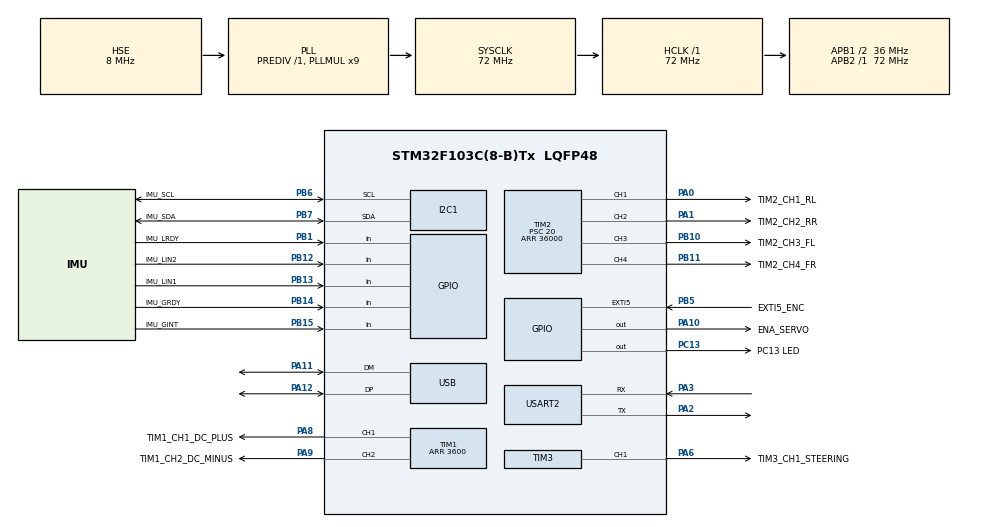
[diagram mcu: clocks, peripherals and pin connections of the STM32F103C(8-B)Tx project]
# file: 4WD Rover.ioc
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FREERTOS.HEAP_NUMBER=1
FREERTOS.Tasks01=defaultTask,-3,128,StartDefaultTask,Default,NULL,Dynamic,NULL,NULL;motorCtrlTask,0,128,StartMotorControlTask,Default,NULL,Dynamic,NULL,NULL;commTask,0,128,StartCommTask,Default,NULL,Dynamic,NULL,NULL;servoTask,0,128,StartServoTask,Default,NULL,Dynamic,NULL,NULL;sensorTask,0,128,StartSensorTask,Default,NULL,Dynamic,NULL,NULL
FREERTOS.configTOTAL_HEAP_SIZE=8192
Mcu.Family=STM32F1
Mcu.Name=STM32F103C(8-B)Tx
Mcu.Package=LQFP48
NVIC.EXTI9_5_IRQn=true\:5\:0\:false\:false\:true\:true\:true\:true
NVIC.I2C1_ER_IRQn=true\:5\:0\:false\:false\:true\:true\:true\:true
NVIC.I2C1_EV_IRQn=true\:5\:0\:false\:false\:true\:true\:true\:true
NVIC.PriorityGroup=NVIC_PRIORITYGROUP_4
NVIC.TIM4_IRQn=true\:0\:0\:false\:false\:true\:false\:false\:true
NVIC.TimeBase=TIM4_IRQn
NVIC.TimeBaseIP=TIM4
NVIC.USB_LP_CAN1_RX0_IRQn=true\:5\:0\:false\:false\:true\:true\:false\:true
PA0-WKUP.GPIO_Label=TIM2_CH1_RL
PA0-WKUP.Signal=S_TIM2_CH1_ETR
PA1.GPIO_Label=TIM2_CH2_RR
PA1.Signal=S_TIM2_CH2
PA10.GPIO_Label=ENA_SERVO
PA10.Signal=GPIO_Output
PA11.Mode=Device
PA11.Signal=USB_DM
PA12.Mode=Device
PA12.Signal=USB_DP
PA13.Mode=Serial_Wire
PA13.Signal=SYS_JTMS-SWDIO
PA14.Mode=Serial_Wire
PA14.Signal=SYS_JTCK-SWCLK
PA2.Mode=Asynchronous
PA2.Signal=USART2_TX
PA3.Mode=Asynchronous
PA3.Signal=USART2_RX
PA6.GPIO_Label=TIM3_CH1_STEERING
PA6.Signal=S_TIM3_CH1
PA8.GPIO_Label=TIM1_CH1_DC_PLUS
PA8.Signal=S_TIM1_CH1
PA9.GPIO_Label=TIM1_CH2_DC_MINUS
PA9.Signal=S_TIM1_CH2
PB1.GPIO_Label=IMU_LRDY
PB1.Signal=GPIO_Input
PB10.GPIO_Label=TIM2_CH3_FL
PB10.Signal=S_TIM2_CH3
PB11.GPIO_Label=TIM2_CH4_FR
PB11.Signal=S_TIM2_CH4
PB12.GPIO_Label=IMU_LIN2
PB12.Signal=GPIO_Input
PB13.GPIO_Label=IMU_LIN1
PB13.Signal=GPIO_Input
PB14.GPIO_Label=IMU_GRDY
PB14.Signal=GPIO_Input
PB15.GPIO_Label=IMU_GINT
PB15.Signal=GPIO_Input
PB5.GPIO_Label=EXTI5_ENC
PB5.Signal=GPXTI5
PB6.GPIO_Label=IMU_SCL
PB6.Mode=I2C
PB6.Signal=I2C1_SCL
PB7.GPIO_Label=IMU_SDA
PB7.Mode=I2C
PB7.Signal=I2C1_SDA
PC13-TAMPER-RTC.GPIO_Label=PC13 LED
PC13-TAMPER-RTC.Signal=GPIO_Output
PD0-OSC_IN.Mode=HSE-External-Oscillator
PD0-OSC_IN.Signal=RCC_OSC_IN
PD1-OSC_OUT.Mode=HSE-External-Oscillator
PD1-OSC_OUT.Signal=RCC_OSC_OUT
ProjectManager.HeapSize=0x1000
ProjectManager.StackSize=0x600
ProjectManager.TargetToolchain=EWARM V8.32
RCC.AHBFreq_Value=72000000
RCC.APB1CLKDivider=RCC_HCLK_DIV2
RCC.APB1Freq_Value=36000000
RCC.APB1TimFreq_Value=72000000
RCC.APB2Freq_Value=72000000
RCC.APB2TimFreq_Value=72000000
RCC.HCLKFreq_Value=72000000
RCC.PLLMUL=RCC_PLL_MUL9
RCC.SYSCLKFreq_VALUE=72000000
RCC.SYSCLKSource=RCC_SYSCLKSOURCE_PLLCLK
RCC.USBFreq_Value=48000000
RCC.USBPrescaler=RCC_USBCLKSOURCE_PLL_DIV1_5
SH.S_TIM1_CH1.0=TIM1_CH1,PWM Generation1 CH1
SH.S_TIM1_CH2.0=TIM1_CH2,PWM Generation2 CH2
SH.S_TIM2_CH1_ETR.0=TIM2_CH1,PWM Generation1 CH1
SH.S_TIM2_CH2.0=TIM2_CH2,PWM Generation2 CH2
SH.S_TIM2_CH3.0=TIM2_CH3,PWM Generation3 CH3
SH.S_TIM2_CH4.0=TIM2_CH4,PWM Generation4 CH4
SH.S_TIM3_CH1.0=TIM3_CH1,PWM Generation1 CH1
TIM1.Channel-PWM\ Generation1\ CH1=TIM_CHANNEL_1
TIM1.Channel-PWM\ Generation2\ CH2=TIM_CHANNEL_2
TIM1.Period=3600
TIM2.Channel-PWM\ Generation1\ CH1=TIM_CHANNEL_1
TIM2.Channel-PWM\ Generation2\ CH2=TIM_CHANNEL_2
TIM2.Channel-PWM\ Generation3\ CH3=TIM_CHANNEL_3
TIM2.Channel-PWM\ Generation4\ CH4=TIM_CHANNEL_4
TIM2.Period=36000
TIM2.Prescaler=20
TIM3.Channel-PWM\ Generation1\ CH1=TIM_CHANNEL_1
TIM3.Period=36000
TIM3.Prescaler=40
USART2.VirtualMode=VM_ASYNC
USB_DEVICE.APP_RX_DATA_SIZE=64
USB_DEVICE.APP_TX_DATA_SIZE=64
USB_DEVICE.CLASS_NAME_FS=CDC
USB_DEVICE.VirtualMode=Cdc
USB_DEVICE.VirtualModeFS=Cdc_FS
VP_FREERTOS_VS_CMSIS_V1.Mode=CMSIS_V1
VP_SYS_VS_tim4.Mode=TIM4
VP_USB_DEVICE_VS_USB_DEVICE_CDC_FS.Mode=CDC_FS
board=custom

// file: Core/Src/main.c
/* USER CODE BEGIN Header */
/**
  ******************************************************************************
  * @file           : main.c
  * @brief          : Main program body
  ******************************************************************************
  * @attention
  *
  * <h2><center>&copy; Copyright (c) 2020 STMicroelectronics.
  * All rights reserved.</center></h2>
  *
  * This software component is licensed by ST under Ultimate Liberty license
  * SLA0044, the "License"; You may not use this file except in compliance with
  * the License. You may obtain a copy of the License at:
  *                             www.st.com/SLA0044
  *
  ******************************************************************************
  */
/* USER CODE END Header */

#include "main.h"
#include "cmsis_os.h"
#include "usb_device.h"

/* USER CODE BEGIN Includes */
#include <math.h>
#include <stdbool.h>
#include <inttypes.h>
#include "pid.h"
#include "i2c_handler.h"
#include "lsm303dlhc.h"
#include "l3gd20.h"
#include "IMUOrientationEstimator.h"
/* USER CODE END Includes */

/* USER CODE BEGIN PD */
#define ABS(x)         (x < 0) ? (-x) : x
#define IDLE_NUM_SAMPLES        ((uint32_t) 200u)
#define AVERAGE_NUM_SAMPLES     ((uint32_t) 50u)
/* USER CODE END PD */

I2C_HandleTypeDef hi2c1;

TIM_HandleTypeDef htim1;
TIM_HandleTypeDef htim2;
TIM_HandleTypeDef htim3;

UART_HandleTypeDef huart2;

osThreadId defaultTaskHandle;
osThreadId motorCtrlTaskHandle;
osThreadId commTaskHandle;
osThreadId servoTaskHandle;
osThreadId sensorTaskHandle;
/* USER CODE BEGIN PV */
static volatile uint32_t timeStamp =0;
static volatile uint32_t timeOutGuard =0;
static volatile uint32_t timeOutGuardMax = 0;
static volatile uint8_t timeOutGuardEna = 1;
static volatile float referenceSpeed = 0;
static float referenceSpeedRaw = 50;
static float referenceAngle = 50;
static float referenceDistance = 50;
volatile uint8_t servoEna = 1;
char txBuf[64];
char rxBuf[64];
uint8_t receiveState = 0;

static volatile float FL_min = 12.5;
static volatile float FR_min = 11;
static volatile float RL_min = 11.5;
static volatile float RR_min = 11.5;
static volatile float ST_min = 7;

static volatile float FL_max = 16.5;
static volatile float FR_max = 15;
static volatile float RL_max = 15.5;
static volatile float RR_max = 15.5;
static volatile float ST_max = 9.4;

static float FL_val = 50;
static float FR_val = 50;
static float RL_val = 50;
static float RR_val = 50;
static float ST_val = 50;

static float FL_valPrev = 50;
static float FR_valPrev = 50;
static float RL_valPrev = 50;
static float RR_valPrev = 50;
static float ST_valPrev = 50;
//static float suspensionThreshold = 2;
//static float rollGain = 6.f;
//static float pitchGain = 6.f;
static float filteredPitch;
static float filteredRoll;
static float rollReference = 0;
static float pitchReference = 0;
static uint8_t servoDebounce = 0;

static PID_t pitchController;
static PID_t rollController;

static float rollOffset;
static float pitchOffset;

static volatile float ctrlPSusp = 2.5;
static volatile float ctrlISusp = 0.2;
static volatile float ctrlDSusp = 0;

static uint32_t motCntr = 0; //Motor encoder
static uint32_t motCntrPrev = 0;
static uint32_t motSpeedRaw = 0;
static volatile float motSpeed = 0;
static float raw2mps = 2000.f;
static volatile int16_t controlTaskCycle_ms = 20;

static volatile int16_t pwm1 = 0;
static volatile int16_t pwm2 = 0;

static volatile float motSpeedFiltered = 0;
static volatile float speedError = 0;
static volatile float speedErrorPrev = 0;
static volatile float speedIntError = 0;
static volatile float speedDerivatedError = 0;
//static int16_t forceMotor = 0;
static volatile int16_t forceMotorBeforeSaturation = 0;
static volatile uint16_t absForceMotor = 0;

static volatile float antiWindup = 0;
static volatile float ctrlP = 300;
static volatile float ctrlI = 0.2;
static volatile float ctrlD = 0;
static volatile float feedForward = 15;
static int16_t forceSaturation = 90;

static float automaticSuspension = 1;
static float fixedDistance = 0;
static float referenceFL = 50;
static float referenceFR = 50;
static float referenceRL = 50;
static float referenceRR = 50;

static PID_t controller;

static float accelerometerBuffer[3];
static float compassBuffer[3];
static float gyroBuffer[3];
static float gyroTemp[1];

static Vector3D_t accelerometer;
static Vector3D_t angularSpeed;
static Vector3D_t angularSpeedCompensated;
static Vector3D_t magnetometer;

static Orientation3D_t IMUorientation;
static Orientation3D_t IMUorientationDeg;
static Quaternion_t quaternion;
static uint8_t isMoving = 1;
static uint8_t offset_calibrated;
static Vector3D_t averageAngularSpeed;
static Vector3D_t sumAngularSpeed;
static uint32_t averageAngularSpeedSamples;
static Vector3D_t currentMidValue;
static uint32_t samplesInCurrentBand;

static float sensitivityMoving2Still = 35.f;
static float sensitivityStill2Moving = 7.f;
static float IDLE_SENSITIVITY = 35.f;

/* USER CODE END PV */

void SystemClock_Config(void);
static void MX_GPIO_Init(void);
static void MX_I2C1_Init(void);
static void MX_TIM1_Init(void);
static void MX_TIM2_Init(void);
static void MX_TIM3_Init(void);
static void MX_USART2_UART_Init(void);
void StartDefaultTask(void const * argument);
void StartMotorControlTask(void const * argument);
void StartCommTask(void const * argument);
void StartServoTask(void const * argument);
void StartSensorTask(void const * argument);

/* USER CODE BEGIN PFP */
extern uint8_t CDC_Transmit_FS(uint8_t* Buf, uint16_t Len);
static void I2C_ClearBusyFlagErratum(I2C_HandleTypeDef* handle, uint32_t timeout);
/* USER CODE END PFP */

int main(void)
{

  /* MCU Configuration--------------------------------------------------------*/

  /* Reset of all peripherals, Initializes the Flash interface and the Systick. */
  HAL_Init();

  /* Configure the system clock */
  SystemClock_Config();

  /* Initialize all configured peripherals */
  MX_GPIO_Init();
  MX_I2C1_Init();
  MX_TIM1_Init();
  MX_TIM2_Init();
  MX_TIM3_Init();
  MX_USART2_UART_Init();
  /* USER CODE BEGIN 2 */
  HAL_TIM_PWM_Start(&htim1, TIM_CHANNEL_1);
  HAL_TIM_PWM_Start(&htim1, TIM_CHANNEL_2);

  HAL_TIM_PWM_Start(&htim2, TIM_CHANNEL_1);
  HAL_TIM_PWM_Start(&htim2, TIM_CHANNEL_2);
  HAL_TIM_PWM_Start(&htim2, TIM_CHANNEL_3);
  HAL_TIM_PWM_Start(&htim2, TIM_CHANNEL_4);

  HAL_TIM_PWM_Start(&htim3, TIM_CHANNEL_1);

  TIM1->CCR1 = 0*3600/100; //DC motor +
  TIM1->CCR2 = 0*3600/100; //DC motor -

  //I2C_ClearBusyFlagErratum(&hi2c1, HAL_MAX_DELAY);

  //__HAL_RCC_I2C1_FORCE_RESET();
  //HAL_Delay(2);
  //__HAL_RCC_I2C1_RELEASE_RESET();

  /* USER CODE END 2 */

  /* Create the thread(s) */
  /* definition and creation of defaultTask */
  osThreadDef(defaultTask, StartDefaultTask, osPriorityIdle, 0, 128);
  defaultTaskHandle = osThreadCreate(osThread(defaultTask), NULL);

  /* definition and creation of motorCtrlTask */
  osThreadDef(motorCtrlTask, StartMotorControlTask, osPriorityNormal, 0, 128);
  motorCtrlTaskHandle = osThreadCreate(osThread(motorCtrlTask), NULL);

  /* definition and creation of commTask */
  osThreadDef(commTask, StartCommTask, osPriorityNormal, 0, 128);
  commTaskHandle = osThreadCreate(osThread(commTask), NULL);

  /* definition and creation of servoTask */
  osThreadDef(servoTask, StartServoTask, osPriorityNormal, 0, 128);
  servoTaskHandle = osThreadCreate(osThread(servoTask), NULL);

  /* definition and creation of sensorTask */
  osThreadDef(sensorTask, StartSensorTask, osPriorityNormal, 0, 128);
  sensorTaskHandle = osThreadCreate(osThread(sensorTask), NULL);

  /* Start scheduler */
  osKernelStart();

  /* We should never get here as control is now taken by the scheduler */
  /* Infinite loop */
  while (1)
  {

  }
}

void SystemClock_Config(void)
{
  RCC_OscInitTypeDef RCC_OscInitStruct = {0};
  RCC_ClkInitTypeDef RCC_ClkInitStruct = {0};
  RCC_PeriphCLKInitTypeDef PeriphClkInit = {0};

  /** Initializes the CPU, AHB and APB busses clocks
  */
  RCC_OscInitStruct.OscillatorType = RCC_OSCILLATORTYPE_HSE;
  RCC_OscInitStruct.HSEState = RCC_HSE_ON;
  RCC_OscInitStruct.HSEPredivValue = RCC_HSE_PREDIV_DIV1;
  RCC_OscInitStruct.HSIState = RCC_HSI_ON;
  RCC_OscInitStruct.PLL.PLLState = RCC_PLL_ON;
  RCC_OscInitStruct.PLL.PLLSource = RCC_PLLSOURCE_HSE;
  RCC_OscInitStruct.PLL.PLLMUL = RCC_PLL_MUL9;
  if (HAL_RCC_OscConfig(&RCC_OscInitStruct) != HAL_OK)
  {
    Error_Handler();
  }
  /** Initializes the CPU, AHB and APB busses clocks
  */
  RCC_ClkInitStruct.ClockType = RCC_CLOCKTYPE_HCLK|RCC_CLOCKTYPE_SYSCLK
                              |RCC_CLOCKTYPE_PCLK1|RCC_CLOCKTYPE_PCLK2;
  RCC_ClkInitStruct.SYSCLKSource = RCC_SYSCLKSOURCE_PLLCLK;
  RCC_ClkInitStruct.AHBCLKDivider = RCC_SYSCLK_DIV1;
  RCC_ClkInitStruct.APB1CLKDivider = RCC_HCLK_DIV2;
  RCC_ClkInitStruct.APB2CLKDivider = RCC_HCLK_DIV1;

  if (HAL_RCC_ClockConfig(&RCC_ClkInitStruct, FLASH_LATENCY_2) != HAL_OK)
  {
    Error_Handler();
  }
  PeriphClkInit.PeriphClockSelection = RCC_PERIPHCLK_USB;
  PeriphClkInit.UsbClockSelection = RCC_USBCLKSOURCE_PLL_DIV1_5;
  if (HAL_RCCEx_PeriphCLKConfig(&PeriphClkInit) != HAL_OK)
  {
    Error_Handler();
  }
}

static void MX_I2C1_Init(void)
{

  hi2c1.Instance = I2C1;
  hi2c1.Init.ClockSpeed = 100000;
  hi2c1.Init.DutyCycle = I2C_DUTYCYCLE_2;
  hi2c1.Init.OwnAddress1 = 0;
  hi2c1.Init.AddressingMode = I2C_ADDRESSINGMODE_7BIT;
  hi2c1.Init.DualAddressMode = I2C_DUALADDRESS_DISABLE;
  hi2c1.Init.OwnAddress2 = 0;
  hi2c1.Init.GeneralCallMode = I2C_GENERALCALL_DISABLE;
  hi2c1.Init.NoStretchMode = I2C_NOSTRETCH_DISABLE;
  if (HAL_I2C_Init(&hi2c1) != HAL_OK)
  {
    Error_Handler();
  }

}

static void MX_TIM1_Init(void)
{

  TIM_MasterConfigTypeDef sMasterConfig = {0};
  TIM_OC_InitTypeDef sConfigOC = {0};
  TIM_BreakDeadTimeConfigTypeDef sBreakDeadTimeConfig = {0};

  htim1.Instance = TIM1;
  htim1.Init.Prescaler = 0;
  htim1.Init.CounterMode = TIM_COUNTERMODE_UP;
  htim1.Init.Period = 3600;
  htim1.Init.ClockDivision = TIM_CLOCKDIVISION_DIV1;
  htim1.Init.RepetitionCounter = 0;
  htim1.Init.AutoReloadPreload = TIM_AUTORELOAD_PRELOAD_DISABLE;
  if (HAL_TIM_PWM_Init(&htim1) != HAL_OK)
  {
    Error_Handler();
  }
  sMasterConfig.MasterOutputTrigger = TIM_TRGO_RESET;
  sMasterConfig.MasterSlaveMode = TIM_MASTERSLAVEMODE_DISABLE;
  if (HAL_TIMEx_MasterConfigSynchronization(&htim1, &sMasterConfig) != HAL_OK)
  {
    Error_Handler();
  }
  sConfigOC.OCMode = TIM_OCMODE_PWM1;
  sConfigOC.Pulse = 0;
  sConfigOC.OCPolarity = TIM_OCPOLARITY_HIGH;
  sConfigOC.OCNPolarity = TIM_OCNPOLARITY_HIGH;
  sConfigOC.OCFastMode = TIM_OCFAST_DISABLE;
  sConfigOC.OCIdleState = TIM_OCIDLESTATE_RESET;
  sConfigOC.OCNIdleState = TIM_OCNIDLESTATE_RESET;
  if (HAL_TIM_PWM_ConfigChannel(&htim1, &sConfigOC, TIM_CHANNEL_1) != HAL_OK)
  {
    Error_Handler();
  }
  if (HAL_TIM_PWM_ConfigChannel(&htim1, &sConfigOC, TIM_CHANNEL_2) != HAL_OK)
  {
    Error_Handler();
  }
  sBreakDeadTimeConfig.OffStateRunMode = TIM_OSSR_DISABLE;
  sBreakDeadTimeConfig.OffStateIDLEMode = TIM_OSSI_DISABLE;
  sBreakDeadTimeConfig.LockLevel = TIM_LOCKLEVEL_OFF;
  sBreakDeadTimeConfig.DeadTime = 0;
  sBreakDeadTimeConfig.BreakState = TIM_BREAK_DISABLE;
  sBreakDeadTimeConfig.BreakPolarity = TIM_BREAKPOLARITY_HIGH;
  sBreakDeadTimeConfig.AutomaticOutput = TIM_AUTOMATICOUTPUT_DISABLE;
  if (HAL_TIMEx_ConfigBreakDeadTime(&htim1, &sBreakDeadTimeConfig) != HAL_OK)
  {
    Error_Handler();
  }
  HAL_TIM_MspPostInit(&htim1);

}

static void MX_TIM2_Init(void)
{

  TIM_MasterConfigTypeDef sMasterConfig = {0};
  TIM_OC_InitTypeDef sConfigOC = {0};

  htim2.Instance = TIM2;
  htim2.Init.Prescaler = 20;
  htim2.Init.CounterMode = TIM_COUNTERMODE_UP;
  htim2.Init.Period = 36000;
  htim2.Init.ClockDivision = TIM_CLOCKDIVISION_DIV1;
  htim2.Init.AutoReloadPreload = TIM_AUTORELOAD_PRELOAD_DISABLE;
  if (HAL_TIM_PWM_Init(&htim2) != HAL_OK)
  {
    Error_Handler();
  }
  sMasterConfig.MasterOutputTrigger = TIM_TRGO_RESET;
  sMasterConfig.MasterSlaveMode = TIM_MASTERSLAVEMODE_DISABLE;
  if (HAL_TIMEx_MasterConfigSynchronization(&htim2, &sMasterConfig) != HAL_OK)
  {
    Error_Handler();
  }
  sConfigOC.OCMode = TIM_OCMODE_PWM1;
  sConfigOC.Pulse = 0;
  sConfigOC.OCPolarity = TIM_OCPOLARITY_HIGH;
  sConfigOC.OCFastMode = TIM_OCFAST_DISABLE;
  if (HAL_TIM_PWM_ConfigChannel(&htim2, &sConfigOC, TIM_CHANNEL_1) != HAL_OK)
  {
    Error_Handler();
  }
  if (HAL_TIM_PWM_ConfigChannel(&htim2, &sConfigOC, TIM_CHANNEL_2) != HAL_OK)
  {
    Error_Handler();
  }
  if (HAL_TIM_PWM_ConfigChannel(&htim2, &sConfigOC, TIM_CHANNEL_3) != HAL_OK)
  {
    Error_Handler();
  }
  if (HAL_TIM_PWM_ConfigChannel(&htim2, &sConfigOC, TIM_CHANNEL_4) != HAL_OK)
  {
    Error_Handler();
  }
  HAL_TIM_MspPostInit(&htim2);

}

static void MX_TIM3_Init(void)
{

  TIM_MasterConfigTypeDef sMasterConfig = {0};
  TIM_OC_InitTypeDef sConfigOC = {0};

  htim3.Instance = TIM3;
  htim3.Init.Prescaler = 40;
  htim3.Init.CounterMode = TIM_COUNTERMODE_UP;
  htim3.Init.Period = 36000;
  htim3.Init.ClockDivision = TIM_CLOCKDIVISION_DIV1;
  htim3.Init.AutoReloadPreload = TIM_AUTORELOAD_PRELOAD_DISABLE;
  if (HAL_TIM_PWM_Init(&htim3) != HAL_OK)
  {
    Error_Handler();
  }
  sMasterConfig.MasterOutputTrigger = TIM_TRGO_RESET;
  sMasterConfig.MasterSlaveMode = TIM_MASTERSLAVEMODE_DISABLE;
  if (HAL_TIMEx_MasterConfigSynchronization(&htim3, &sMasterConfig) != HAL_OK)
  {
    Error_Handler();
  }
  sConfigOC.OCMode = TIM_OCMODE_PWM1;
  sConfigOC.Pulse = 0;
  sConfigOC.OCPolarity = TIM_OCPOLARITY_HIGH;
  sConfigOC.OCFastMode = TIM_OCFAST_DISABLE;
  if (HAL_TIM_PWM_ConfigChannel(&htim3, &sConfigOC, TIM_CHANNEL_1) != HAL_OK)
  {
    Error_Handler();
  }
  HAL_TIM_MspPostInit(&htim3);

}

static void MX_USART2_UART_Init(void)
{

  huart2.Instance = USART2;
  huart2.Init.BaudRate = 115200;
  huart2.Init.WordLength = UART_WORDLENGTH_8B;
  huart2.Init.StopBits = UART_STOPBITS_1;
  huart2.Init.Parity = UART_PARITY_NONE;
  huart2.Init.Mode = UART_MODE_TX_RX;
  huart2.Init.HwFlowCtl = UART_HWCONTROL_NONE;
  huart2.Init.OverSampling = UART_OVERSAMPLING_16;
  if (HAL_UART_Init(&huart2) != HAL_OK)
  {
    Error_Handler();
  }

}

static void MX_GPIO_Init(void)
{
  GPIO_InitTypeDef GPIO_InitStruct = {0};

  /* GPIO Ports Clock Enable */
  __HAL_RCC_GPIOC_CLK_ENABLE();
  __HAL_RCC_GPIOD_CLK_ENABLE();
  __HAL_RCC_GPIOA_CLK_ENABLE();
  __HAL_RCC_GPIOB_CLK_ENABLE();

  /*Configure GPIO pin Output Level */
  HAL_GPIO_WritePin(PC13_LED_GPIO_Port, PC13_LED_Pin, GPIO_PIN_RESET);

  /*Configure GPIO pin Output Level */
  HAL_GPIO_WritePin(ENA_SERVO_GPIO_Port, ENA_SERVO_Pin, GPIO_PIN_RESET);

  /*Configure GPIO pin : PC13_LED_Pin */
  GPIO_InitStruct.Pin = PC13_LED_Pin;
  GPIO_InitStruct.Mode = GPIO_MODE_OUTPUT_PP;
  GPIO_InitStruct.Pull = GPIO_NOPULL;
  GPIO_InitStruct.Speed = GPIO_SPEED_FREQ_LOW;
  HAL_GPIO_Init(PC13_LED_GPIO_Port, &GPIO_InitStruct);

  /*Configure GPIO pins : IMU_LRDY_Pin IMU_LIN2_Pin IMU_LIN1_Pin IMU_GRDY_Pin
                           IMU_GINT_Pin */
  GPIO_InitStruct.Pin = IMU_LRDY_Pin|IMU_LIN2_Pin|IMU_LIN1_Pin|IMU_GRDY_Pin
                          |IMU_GINT_Pin;
  GPIO_InitStruct.Mode = GPIO_MODE_INPUT;
  GPIO_InitStruct.Pull = GPIO_NOPULL;
  HAL_GPIO_Init(GPIOB, &GPIO_InitStruct);

  /*Configure GPIO pin : ENA_SERVO_Pin */
  GPIO_InitStruct.Pin = ENA_SERVO_Pin;
  GPIO_InitStruct.Mode = GPIO_MODE_OUTPUT_PP;
  GPIO_InitStruct.Pull = GPIO_NOPULL;
  GPIO_InitStruct.Speed = GPIO_SPEED_FREQ_LOW;
  HAL_GPIO_Init(ENA_SERVO_GPIO_Port, &GPIO_InitStruct);

  /*Configure GPIO pin : EXTI5_ENC_Pin */
  GPIO_InitStruct.Pin = EXTI5_ENC_Pin;
  GPIO_InitStruct.Mode = GPIO_MODE_IT_RISING;
  GPIO_InitStruct.Pull = GPIO_NOPULL;
  HAL_GPIO_Init(EXTI5_ENC_GPIO_Port, &GPIO_InitStruct);

  /* EXTI interrupt init*/
  HAL_NVIC_SetPriority(EXTI9_5_IRQn, 5, 0);
  HAL_NVIC_EnableIRQ(EXTI9_5_IRQn);

}

/* USER CODE BEGIN 4 */

void HAL_GPIO_EXTI_Callback(uint16_t GPIO_Pin){
  switch ( GPIO_Pin ) {
  case GPIO_PIN_5:
    motCntr++;
    break;
  default:
    break;
  }
}

/**
  * @brief Count characters in char array
  * @param ptr: pointer to char array
  * @retval Number of characters in array
  */
uint16_t SizeofCharArray(char *ptr)
{
  /* Local variables */
  uint16_t len = 0;

  /* Search until end char */
  while (ptr[len] != '\0') {
    len++;
  }
  return len;
}

float filter2 (float avg, float input, float alpha) {
  avg = (alpha * input) + (1.0 - alpha) * avg;
  return avg;
}

void saturateInteger(int16_t* i, int16_t min, int16_t max) {
  int16_t val = *i;
  if (val < min) val = min;
  else if (val > max) val = max;
  *i = val;
}

void saturateFloat(float* i, float min, float max) {
  float val = *i;
  if (val < min) val = min;
  else if (val > max) val = max;
  *i = val;
}

bool is_close_to(const Vector3D_t vector, const Vector3D_t reference, float threshold)
{
    return fabsf(vector.x - reference.x) <= threshold
            && fabsf(vector.y - reference.y) <= threshold
            && fabsf(vector.z - reference.z) <= threshold;
}

void debounceServo(float *newVal, float *oldVal, float th) {
  float val;
  if (fabs(*newVal - *oldVal) > th){
    val = *newVal;
    *oldVal = val;
  }
  else{
    val = *oldVal;
    *newVal = val;
  }
}

void restart_averaging(void)
{
    /* start a new calibration immediately */
    averageAngularSpeedSamples = 0u;

    /* only reset sum, average will be used for compensation */
    sumAngularSpeed = (Vector3D_t) {0.0f, 0.0f, 0.0f};
}

bool wait_for_gpio_state_timeout(GPIO_TypeDef *port, uint16_t pin, GPIO_PinState state, uint32_t timeout)
 {
    uint32_t Tickstart = HAL_GetTick();
    /* Wait until flag is set */
    while (state != HAL_GPIO_ReadPin(port, pin))
    {
        /* Check for the timeout */
        if (timeout != HAL_MAX_DELAY)
        {
            if ((timeout == 0U) || ((HAL_GetTick() - Tickstart) > timeout))
            {
                return false;
            }
        }
    }
    return true;
}

void I2C_ClearBusyFlagErratum(I2C_HandleTypeDef* handle, uint32_t timeout)
{
    GPIO_InitTypeDef GPIO_InitStructure;

    // 1. Clear PE bit.
    CLEAR_BIT(handle->Instance->CR1, I2C_CR1_PE);

    //  2. Configure the SCL and SDA I/Os as General Purpose Output Open-Drain, High level (Write 1 to GPIOx_ODR).
    HAL_I2C_DeInit(handle);

    GPIO_InitStructure.Mode = GPIO_MODE_OUTPUT_OD;
    GPIO_InitStructure.Pull = GPIO_NOPULL;

    GPIO_InitStructure.Pin = IMU_SCL_Pin;
    HAL_GPIO_Init(GPIOB, &GPIO_InitStructure);

    GPIO_InitStructure.Pin = IMU_SDA_Pin;
    HAL_GPIO_Init(IMU_SDA_GPIO_Port, &GPIO_InitStructure);

    // 3. Check SCL and SDA High level in GPIOx_IDR.
    HAL_GPIO_WritePin(IMU_SCL_GPIO_Port, IMU_SDA_Pin, GPIO_PIN_SET);
    HAL_GPIO_WritePin(IMU_SDA_GPIO_Port, IMU_SCL_Pin, GPIO_PIN_SET);

    wait_for_gpio_state_timeout(IMU_SCL_GPIO_Port, IMU_SCL_Pin, GPIO_PIN_SET, timeout);
    wait_for_gpio_state_timeout(IMU_SDA_GPIO_Port, IMU_SDA_Pin, GPIO_PIN_SET, timeout);

    // 4. Configure the SDA I/O as General Purpose Output Open-Drain, Low level (Write 0 to GPIOx_ODR).
    HAL_GPIO_WritePin(IMU_SDA_GPIO_Port, IMU_SDA_Pin, GPIO_PIN_RESET);

    // 5. Check SDA Low level in GPIOx_IDR.
    wait_for_gpio_state_timeout(IMU_SDA_GPIO_Port, IMU_SDA_Pin, GPIO_PIN_RESET, timeout);

    // 6. Configure the SCL I/O as General Purpose Output Open-Drain, Low level (Write 0 to GPIOx_ODR).
    HAL_GPIO_WritePin(IMU_SCL_GPIO_Port, IMU_SCL_Pin, GPIO_PIN_RESET);

    // 7. Check SCL Low level in GPIOx_IDR.
    wait_for_gpio_state_timeout(IMU_SCL_GPIO_Port, IMU_SCL_Pin, GPIO_PIN_RESET, timeout);

    // 8. Configure the SCL I/O as General Purpose Output Open-Drain, High level (Write 1 to GPIOx_ODR).
    HAL_GPIO_WritePin(IMU_SCL_GPIO_Port, IMU_SCL_Pin, GPIO_PIN_SET);

    // 9. Check SCL High level in GPIOx_IDR.
    wait_for_gpio_state_timeout(IMU_SCL_GPIO_Port, IMU_SCL_Pin, GPIO_PIN_SET, timeout);

    // 10. Configure the SDA I/O as General Purpose Output Open-Drain , High level (Write 1 to GPIOx_ODR).
    HAL_GPIO_WritePin(IMU_SDA_GPIO_Port, IMU_SDA_Pin, GPIO_PIN_SET);

    // 11. Check SDA High level in GPIOx_IDR.
    wait_for_gpio_state_timeout(IMU_SDA_GPIO_Port, IMU_SDA_Pin, GPIO_PIN_SET, timeout);

    // 12. Configure the SCL and SDA I/Os as Alternate function Open-Drain.
    GPIO_InitStructure.Mode = GPIO_MODE_AF_OD;
    //GPIO_InitStructure.Alternate = GPIO_AF1_I2C1;

    GPIO_InitStructure.Pin = IMU_SCL_Pin;
    HAL_GPIO_Init(IMU_SCL_GPIO_Port, &GPIO_InitStructure);

    GPIO_InitStructure.Pin = IMU_SDA_Pin;
    HAL_GPIO_Init(IMU_SDA_GPIO_Port, &GPIO_InitStructure);

    /* 15. Enable the I2C peripheral by setting the PE bit in I2Cx_CR1 register */
    SET_BIT(handle->Instance->CR1, I2C_CR1_PE);
    asm("nop");

    // Call initialization function.
    HAL_I2C_Init(handle);
    //MX_I2C1_Init();
}

/* USER CODE END 4 */

void StartDefaultTask(void const * argument)
{
  /* init code for USB_DEVICE */
  MX_USB_DEVICE_Init();
  /* USER CODE BEGIN 5 */

  /* Infinite loop */
  for(;;)
  {

    osDelay(500);
    HAL_GPIO_TogglePin(GPIOC, GPIO_PIN_13);

  }
  /* USER CODE END 5 */
}

void StartMotorControlTask(void const * argument)
{
  /* USER CODE BEGIN StartMotorControlTask */
  pid_initialize(&controller);
  controller.config.P          = ctrlP;
  controller.config.I          = ctrlI;
  controller.config.D          = 0.f;
  controller.config.LowerLimit = 0.f;
  controller.config.UpperLimit = forceSaturation;

  /* Infinite loop */
  for(;;)
  {

    referenceSpeed = (referenceSpeedRaw - 50)/100.0;

    motSpeedRaw = motCntr - motCntrPrev;
    motSpeed = (motSpeedRaw * 1000.f) / (raw2mps * controlTaskCycle_ms);

    motCntrPrev = motCntr;

    motSpeedFiltered = filter2(motSpeedFiltered, motSpeed, 0.35);

#ifdef OLD
      speedErrorPrev = speedError;
      speedError = fabs(referenceSpeed) - motSpeedFiltered;
      speedIntError = speedIntError + speedError + antiWindup * (forceMotor - forceMotorBeforeSaturation);
      speedDerivatedError = speedError - speedErrorPrev;
      forceMotor = (int)(ctrlP * speedError + ctrlI * speedIntError + ctrlD * speedDerivatedError);

      if (fabs(referenceSpeed) < 0.01) {
        speedIntError -= speedIntError*0.03;
      }
      else {
        forceMotor += feedForward;
      }

      forceMotorBeforeSaturation = forceMotor;

      saturateInteger(&forceMotor, 0, forceSaturation);
      absForceMotor = ABS(forceMotor);
#else
      absForceMotor = (uint16_t) lroundf(pid_update(&controller, fabs(referenceSpeed), motSpeed));
      if (fabs(referenceSpeed) > 0.01) {
        absForceMotor += feedForward;
        saturateInteger((int16_t*)&absForceMotor, 0, forceSaturation);
      }

#endif

    if ((pwm1 != 0) || (pwm2 != 0)){
      TIM1->CCR1 = pwm1*3600/100; //DC motor +
      TIM1->CCR2 = pwm2*3600/100; //DC motor -
    }
    else {
      if (referenceSpeed > 0){
          TIM1->CCR1 = (100-absForceMotor)*3600/100; //DC motor +
          TIM1->CCR2 = 100*3600/100; //DC motor -
      }
      else {
          TIM1->CCR1 = 100*3600/100; //DC motor +
          TIM1->CCR2 = (100-absForceMotor)*3600/100; //DC motor -
      }
    }

    osDelay(controlTaskCycle_ms);
  }
  /* USER CODE END StartMotorControlTask */
}

void StartCommTask(void const * argument)
{
  /* USER CODE BEGIN StartCommTask */
  uint16_t Len = 0;
  /* Infinite loop */
  for(;;)
  {
    if (receiveState == 1){
      if ((rxBuf[0] == 'K') && (rxBuf[1] == 'A') && (rxBuf[2] == '\r')){ // KA = Keep alive (response echo)
        __ASM("NOP");
      }
      else if ((rxBuf[0] == 'S') && (rxBuf[1] == 'T') && (rxBuf[2] == 'R') && (rxBuf[6] == '\r')){
        referenceAngle = (int16_t)((rxBuf[3]  - '0')*100 + (rxBuf[4]  - '0')*10 + (rxBuf[5]  - '0')*1);
        saturateFloat(&referenceAngle,0,100);
        sprintf(txBuf, "OK: %s\r\n", rxBuf);
        Len = SizeofCharArray((char*)txBuf);
        CDC_Transmit_FS((uint8_t*)txBuf, Len);
      }
      else if ((rxBuf[0] == 'S') && (rxBuf[1] == 'P') && (rxBuf[2] == 'D') && (rxBuf[6] == '\r')){
        referenceSpeedRaw = (int16_t)((rxBuf[3]  - '0')*100 + (rxBuf[4]  - '0')*10 + (rxBuf[5]  - '0')*1);
        saturateFloat(&referenceSpeedRaw,0,100);
        sprintf(txBuf, "OK: %s\r\n", rxBuf);
        Len = SizeofCharArray((char*)txBuf);
        CDC_Transmit_FS((uint8_t*)txBuf, Len);
      }
      else if ((rxBuf[0] == 'D') && (rxBuf[1] == 'I') && (rxBuf[2] == 'S') && (rxBuf[6] == '\r')){
        automaticSuspension = 0;
        fixedDistance = 1;
        referenceDistance = (int16_t)((rxBuf[3]  - '0')*100 + (rxBuf[4]  - '0')*10 + (rxBuf[5]  - '0')*1);
        saturateFloat(&referenceDistance,0,100);
        sprintf(txBuf, "OK: %s\r\n", rxBuf);
        Len = SizeofCharArray((char*)txBuf);
        CDC_Transmit_FS((uint8_t*)txBuf, Len);
      }
      else if ((rxBuf[0] == 'S') && (rxBuf[1] == 'U') && (rxBuf[2] == 'A') && (rxBuf[3] == '\r')){
        automaticSuspension = 1;
        fixedDistance = 0;
        sprintf(txBuf, "OK: %s\r\n", rxBuf);
        Len = SizeofCharArray((char*)txBuf);
        CDC_Transmit_FS((uint8_t*)txBuf, Len);
      }
      else if ((rxBuf[0] == 'S') && (rxBuf[1] == 'U') && (rxBuf[2] == 'M') && (rxBuf[15] == '\r')){
        automaticSuspension = 0;
        fixedDistance = 0;
        referenceFL = (int16_t)((rxBuf[3]  - '0')*100 + (rxBuf[4]  - '0')*10 + (rxBuf[5]  - '0')*1);
        referenceFR = (int16_t)((rxBuf[6]  - '0')*100 + (rxBuf[7]  - '0')*10 + (rxBuf[8]  - '0')*1);
        referenceRL = (int16_t)((rxBuf[9]  - '0')*100 + (rxBuf[10]  - '0')*10 + (rxBuf[11]  - '0')*1);
        referenceRR = (int16_t)((rxBuf[12]  - '0')*100 + (rxBuf[13]  - '0')*10 + (rxBuf[14]  - '0')*1);
        saturateFloat(&referenceFL,0,100);
        saturateFloat(&referenceFR,0,100);
        saturateFloat(&referenceRL,0,100);
        saturateFloat(&referenceRR,0,100);
        sprintf(txBuf, "OK: %s\r\n", rxBuf);
        Len = SizeofCharArray((char*)txBuf);
        CDC_Transmit_FS((uint8_t*)txBuf, Len);
      }
      else if ((rxBuf[0] == 'T') && (rxBuf[1] == 'G') && (rxBuf[2] == 'E') && (rxBuf[3] == '\r')){
        timeOutGuardEna = 1;
        sprintf(txBuf, "OK: %s\r\n", rxBuf);
        Len = SizeofCharArray((char*)txBuf);
        CDC_Transmit_FS((uint8_t*)txBuf, Len);
      }
      else if ((rxBuf[0] == 'T') && (rxBuf[1] == 'G') && (rxBuf[2] == 'D') && (rxBuf[3] == '\r')){
        timeOutGuardEna = 0;
        sprintf(txBuf, "OK: %s\r\n", rxBuf);
        Len = SizeofCharArray((char*)txBuf);
        CDC_Transmit_FS((uint8_t*)txBuf, Len);
      }
      else if ((rxBuf[0] == 'S') && (rxBuf[1] == 'R') && (rxBuf[2] == 'E') && (rxBuf[3] == '\r')){
        servoEna = 1;
        sprintf(txBuf, "OK: %s\r\n", rxBuf);
        Len = SizeofCharArray((char*)txBuf);
        CDC_Transmit_FS((uint8_t*)txBuf, Len);
      }
      else if ((rxBuf[0] == 'S') && (rxBuf[1] == 'R') && (rxBuf[2] == 'D') && (rxBuf[3] == '\r')){
        servoEna = 0;
        sprintf(txBuf, "OK: %s\r\n", rxBuf);
        Len = SizeofCharArray((char*)txBuf);
        CDC_Transmit_FS((uint8_t*)txBuf, Len);
      }
      else if ((rxBuf[0] == 'P') && (rxBuf[1] == 'O') && (rxBuf[2] == 'W') && (rxBuf[6] == '\r')){
        forceSaturation = (int16_t)((rxBuf[3]  - '0')*100 + (rxBuf[4]  - '0')*10 + (rxBuf[5]  - '0')*1);
        saturateInteger(&forceSaturation,0,100);
        sprintf(txBuf, "OK: %s\r\n", rxBuf);
        Len = SizeofCharArray((char*)txBuf);
        CDC_Transmit_FS((uint8_t*)txBuf, Len);
      }
      else if ((rxBuf[0] == 'G') && (rxBuf[1] == 'C') && (rxBuf[2] == 'S') && (rxBuf[3] == '\r')){
        sprintf(txBuf, "OK: %hu;%hu\r\n", GetCommOk(), GetCommError());
        Len = SizeofCharArray((char*)txBuf);
        CDC_Transmit_FS((uint8_t*)txBuf, Len);
      }
      else if ((rxBuf[0] == 'G') && (rxBuf[1] == 'Q') && (rxBuf[2] == 'T') && (rxBuf[3] == '\r')){
        sprintf(txBuf, "OK: %.6f;%.6f;%.6f;%.6f\r\n", quaternion.q0, quaternion.q1, quaternion.q2, quaternion.q3);
        Len = SizeofCharArray((char*)txBuf);
        CDC_Transmit_FS((uint8_t*)txBuf, Len);
      }
      else if ((rxBuf[0] == 'G') && (rxBuf[1] == 'O') && (rxBuf[2] == 'R') && (rxBuf[3] == '\r')){
        sprintf(txBuf, "OK: %.3f;%.3f;%.3f\r\n", IMUorientationDeg.pitch, IMUorientationDeg.roll, IMUorientationDeg.yaw);
        Len = SizeofCharArray((char*)txBuf);
        CDC_Transmit_FS((uint8_t*)txBuf, Len);
      }

      else{
        sprintf(txBuf, "ERR: %s\r\n", rxBuf);
        Len = SizeofCharArray((char*)txBuf);
        CDC_Transmit_FS((uint8_t*)txBuf, Len);
      }
      timeStamp = HAL_GetTick();
      receiveState = 0;
    }

    timeOutGuard = HAL_GetTick() - timeStamp;
    if (timeOutGuard > timeOutGuardMax){
      timeOutGuardMax = timeOutGuard;
    }

    if ((timeOutGuard > 1000) && timeOutGuardEna == 1){
      referenceSpeedRaw = 50;
      referenceAngle = 50;
    }
    osDelay(5);
  }
  /* USER CODE END StartCommTask */
}

void StartServoTask(void const * argument)
{
  /* USER CODE BEGIN StartServoTask */
  TIM2->CCR1 = (int)((RL_val / (100 / (RL_max - RL_min)) + RL_min) * 36000) / 100; //Servo RL
  TIM2->CCR2 = (int)(((100 - RR_val) / (100 / (RR_max - RR_min)) + RR_min) * 36000) / 100; //Servo RR
  TIM2->CCR3 = (int)(((100 - FL_val) / (100 / (FL_max - FL_min)) + FL_min) * 36000) / 100; //Servo FL
  TIM2->CCR4 = (int)((FR_val / (100 / (FR_max - FR_min)) + FR_min) * 36000) / 100; //Servo FR

  TIM3->CCR1 = (int)(((100 - ST_val) / (100 / (ST_max - ST_min)) + ST_min) * 36000) / 100; //Steering
  osDelay(100);
  HAL_GPIO_WritePin(GPIOA, GPIO_PIN_10, GPIO_PIN_RESET); //SERVO DISABLED

  pid_initialize(&rollController);
  rollController.config.P          = ctrlPSusp;
  rollController.config.I          = ctrlISusp;
  rollController.config.D          = 0.f;
  rollController.config.LowerLimit = -50.f;
  rollController.config.UpperLimit = 50.f;

  pid_initialize(&pitchController);
  pitchController.config.P          = ctrlPSusp;
  pitchController.config.I          = ctrlISusp;
  pitchController.config.D          = 0.f;
  pitchController.config.LowerLimit = -50.f;
  pitchController.config.UpperLimit = 50.f;

  /* Infinite loop */
  for(;;)
  {

    ST_val = referenceAngle;

    if (automaticSuspension == 1) {
      __asm("NOP");
      FL_val = FR_val = RL_val = RR_val = 50;

      filteredPitch = filter2(filteredPitch, IMUorientationDeg.pitch, 0.1);
      filteredRoll = filter2(filteredRoll, IMUorientationDeg.roll, 0.1);

      if (isMoving) {
        rollOffset = pid_update(&rollController, rollReference, IMUorientationDeg.roll);
        pitchOffset = pid_update(&pitchController, pitchReference, IMUorientationDeg.pitch);
      }

      FL_val -= pitchOffset;
      FR_val -= pitchOffset;
      RL_val += pitchOffset;
      RR_val += pitchOffset;

      FL_val += rollOffset;
      FR_val -= rollOffset;
      RL_val += rollOffset;
      RR_val -= rollOffset;

    }
    else {
      if (fixedDistance == 1) {
        FL_val = FR_val = RL_val = RR_val = referenceDistance;
      }
      else {
        FL_val = referenceFL;
        FR_val = referenceFR;
        RL_val = referenceRL;
        RR_val = referenceRR;
      }
    }

    //This workaround is needed because the SG90 servo in steering is a crap
    if (ST_val != ST_valPrev || FL_val != FL_valPrev || FR_val != FR_valPrev || RL_val != RL_valPrev || RR_val != RR_valPrev){
      servoDebounce = 0;
    }
    if (servoDebounce < 100) {
      servoDebounce++;
      servoEna = 1;
    }
    else {
      servoEna = 0;
    }

    ST_valPrev = ST_val;
    FL_valPrev = FL_val;
    FR_valPrev = FR_val;
    RL_valPrev = RL_val;
    RR_valPrev = RR_val;

    // End of workaround

    saturateFloat(&FL_val, 0, 100);
    saturateFloat(&FR_val, 0, 100);
    saturateFloat(&RL_val, 0, 100);
    saturateFloat(&RR_val, 0, 100);
    saturateFloat(&ST_val, 0, 100);

    TIM2->CCR1 = (int)((RL_val / (100 / (RL_max - RL_min)) + RL_min) * 36000) / 100; //Servo RL
    TIM2->CCR2 = (int)(((100 - RR_val) / (100 / (RR_max - RR_min)) + RR_min) * 36000) / 100; //Servo RR
    TIM2->CCR3 = (int)(((100 - FL_val) / (100 / (FL_max - FL_min)) + FL_min) * 36000) / 100; //Servo FL
    TIM2->CCR4 = (int)((FR_val / (100 / (FR_max - FR_min)) + FR_min) * 36000) / 100; //Servo FR

    TIM3->CCR1 = (int)(((100 - ST_val) / (100 / (ST_max - ST_min)) + ST_min) * 36000) / 100; //Steering

    if (servoEna == 1){
      HAL_GPIO_WritePin(GPIOA, GPIO_PIN_10, GPIO_PIN_SET); //SERVO ENABLED
    }
    else {
      HAL_GPIO_WritePin(GPIOA, GPIO_PIN_10, GPIO_PIN_RESET); //SERVO DISABLED
    }

    osDelay(10);
  }
  /* USER CODE END StartServoTask */
}

void StartSensorTask(void const * argument)
{
  /* USER CODE BEGIN StartSensorTask */

  osDelay(500);

  ACCELERO_Init();
  MAGNET_Init();
  GYRO_Init();

  /* Infinite loop */
  for(;;)
  {

    LSM303DLHC_AccReadXYZ(accelerometerBuffer);
    LSM303DLHC_MagReadXYZ(compassBuffer);
    L3GD20_ReadXYZAngRate(gyroBuffer);
    L3GD20_ReadTemp(gyroTemp);

    accelerometer = (Vector3D_t) {
        .x = accelerometerBuffer[0],
        .y = accelerometerBuffer[1],
        .z = accelerometerBuffer[2]
    };

    angularSpeed = (Vector3D_t) {
        .x = gyroBuffer[0],
        .y = gyroBuffer[1],
        .z = gyroBuffer[2]
    };

    magnetometer = (Vector3D_t) {
        .x = compassBuffer[0],
        .y = compassBuffer[1],
        .z = compassBuffer[2]
    };

    if (is_close_to(angularSpeed, currentMidValue, IDLE_SENSITIVITY)) {
        if (samplesInCurrentBand < IDLE_NUM_SAMPLES) {
            samplesInCurrentBand++;
            if (samplesInCurrentBand == IDLE_NUM_SAMPLES) {
                isMoving = 0;
                IDLE_SENSITIVITY = sensitivityStill2Moving;
            }
        }
    }
    else {
        samplesInCurrentBand = 0u;
        currentMidValue = angularSpeed;
        isMoving = 1;
        IDLE_SENSITIVITY = sensitivityMoving2Still;
    }

    if (isMoving) {
        restart_averaging();
    }
    else {
      if (averageAngularSpeedSamples < AVERAGE_NUM_SAMPLES) {
        sumAngularSpeed.x += angularSpeed.x;
        sumAngularSpeed.y += angularSpeed.y;
        sumAngularSpeed.z += angularSpeed.z;

        ++averageAngularSpeedSamples;

        if (averageAngularSpeedSamples == AVERAGE_NUM_SAMPLES) {
            averageAngularSpeed.x = sumAngularSpeed.x / AVERAGE_NUM_SAMPLES;
            averageAngularSpeed.y = sumAngularSpeed.y / AVERAGE_NUM_SAMPLES;
            averageAngularSpeed.z = sumAngularSpeed.z / AVERAGE_NUM_SAMPLES;

            offset_calibrated = 1;

            restart_averaging();
        }
      }
    }

    if (offset_calibrated)
    {
      angularSpeedCompensated = (Vector3D_t) {
          .x = angularSpeed.x - averageAngularSpeed.x,
          .y = angularSpeed.y - averageAngularSpeed.y,
          .z = angularSpeed.z - averageAngularSpeed.z
      };
    }
    else {
      angularSpeedCompensated = (Vector3D_t) {
          .x = angularSpeed.x,
          .y = angularSpeed.y,
          .z = angularSpeed.z
      };
    }

    IMUOrientationEstimator(0.02, &accelerometer, &angularSpeedCompensated, &magnetometer, &IMUorientation, &quaternion);

    IMUorientationDeg = (Orientation3D_t) {
        .pitch = rad_to_deg(IMUorientation.pitch),
        .roll  = rad_to_deg(IMUorientation.roll),
        .yaw   = rad_to_deg(IMUorientation.yaw)
    };

    osDelay(20);

  }
  /* USER CODE END StartSensorTask */
}

 /**
  * @brief  Period elapsed callback in non blocking mode
  * @note   This function is called  when TIM4 interrupt took place, inside
  * HAL_TIM_IRQHandler(). It makes a direct call to HAL_IncTick() to increment
  * a global variable "uwTick" used as application time base.
  * @param  htim : TIM handle
  * @retval None
  */
void HAL_TIM_PeriodElapsedCallback(TIM_HandleTypeDef *htim)
{
  if (htim->Instance == TIM4) {
    HAL_IncTick();
  }
}

void Error_Handler(void)
{
}

/************************ (C) COPYRIGHT STMicroelectronics *****END OF FILE****/
